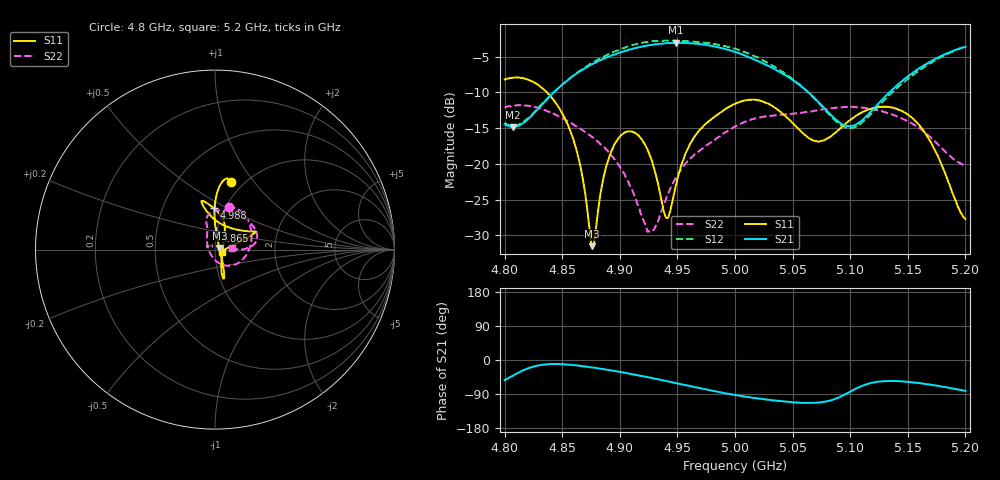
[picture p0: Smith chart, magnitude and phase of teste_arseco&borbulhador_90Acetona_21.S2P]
! Network Analyzer HP8722D
! Hewlett-Packard
! Data name: Linha & Wilkinson
! Saver's name: Rodrigo Anjos
! Comments: Teste da utilização de aquisição
! continua pelo VNA HP8722D
! Time and date: 17/4/2025 11:13
!  Frequency  S11  S21  S12  S22
# HZ  S  MA R 50
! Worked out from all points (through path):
!   401 points, 4.8 GHz to 5.2 GHz, reference 50 ohm
!   highest |S21| = -3.07 dB at 4.949 GHz (marker M1); lowest = -14.8 dB at 4.807 GHz (marker M2)
!   lowest |S11| = -31.5 dB at 4.876 GHz (marker M3), VSWR 1.05, Z = 52.5 + j0.998 ohm
!   |S11| at or under -10 dB: 4.837 GHz to end of sweep
!   |S22| runs from -29.6 to -11.7 dB; largest |S21 - S12| = 1.4
!   S11 on the Smith chart (normalised r, x): 4.8 GHz: 0.87, +0.78; 4.865 GHz: 0.99, +0.21; 4.988 GHz: 0.89, +0.43; 5.2 GHz: 1.08, -0.03
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4.8e9  0.3892 76.8  0.1896 -53.0  0.1931 82.0  0.2473 72.3
4.807e9  0.4008 79.0  0.1814 -41.8  0.1841 92.2  0.2543 66.2
4.841e9  0.2901 89.0  0.3068 -10.8  0.3079 122.3  0.228 27.0
4.865e9  0.1034 86.7  0.4422 -15.1  0.4463 121.5  0.1778 -9.0
4.867e9  0.08604 84.0  0.4527 -16.1  0.4569 121.3  0.1737 -12.2
4.876e9  0.02662 20.9  0.4975 -19.8  0.509 118.8  0.1546 -26.6
4.888e9  0.09471 -62.2  0.5538 -25.3  0.5724 114.8  0.1263 -44.6
4.902e9  0.161 -71.4  0.6083 -32.3  0.641 108.9  0.08963 -66.4
4.914e9  0.1636 -74.6  0.6468 -39.0  0.6857 102.7  0.05671 -91.8
4.925e9  0.1207 -72.8  0.6747 -45.9  0.7142 96.1  0.03399 -142.3
4.934e9  0.06786 -57.8  0.6887 -51.6  0.7264 90.4  0.04181 161.4
4.941e9  0.04187 -7.0  0.6991 -56.0  0.7287 86.1  0.05978 137.6
4.949e9  0.07211 47.1  0.7023 -61.0  0.7265 80.8  0.08106 124.2
4.963e9  0.1465 68.7  0.6958 -70.1  0.7166 72.2  0.1123 112.2
4.988e9  0.2304 91.6  0.6455 -85.5  0.6754 55.9  0.1595 107.8
5e9  0.2633 100.0  0.6053 -92.4  0.64 48.4  0.1827 105.0
5.029e9  0.2638 105.6  0.4838 -105.1  0.5061 33.5  0.2154 88.3
5.067e9  0.1469 76.5  0.2999 -113.2  0.2974 27.5  0.233 54.3
5.1e9  0.2026 30.5  0.184 -83.5  0.1776 60.7  0.2504 25.4
5.134e9  0.2497 23.2  0.3164 -55.4  0.3026 91.0  0.2251 8.9
5.164e9  0.1685 19.0  0.4895 -62.6  0.4725 85.4  0.1682 1.5
5.2e9  0.04119 -17.2  0.657 -81.6  0.6611 67.5  0.09699 5.5
